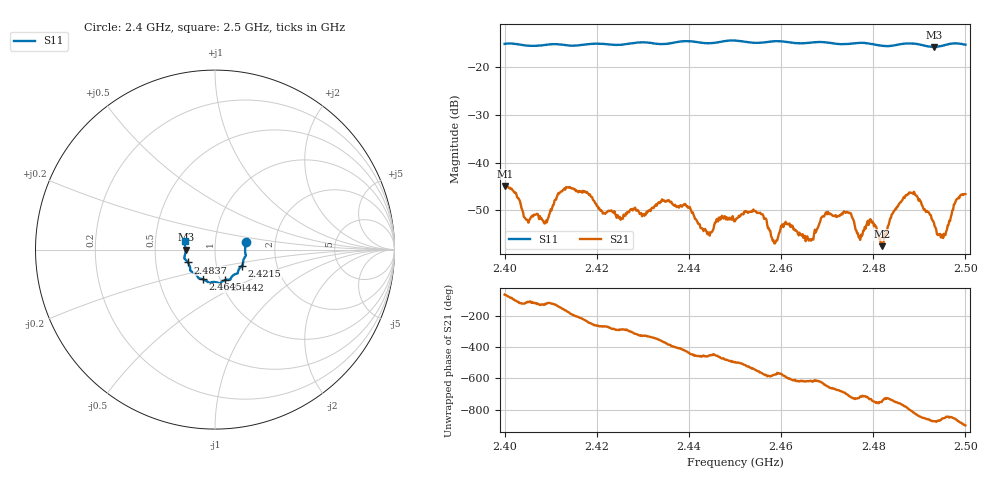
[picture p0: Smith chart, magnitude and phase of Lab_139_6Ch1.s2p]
# Hz S RI R 50
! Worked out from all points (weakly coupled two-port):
!   601 points, 2.4 GHz to 2.5 GHz, reference 50 ohm
!   highest |S21| = -44.85 dB at 2.4002 GHz (marker M1); lowest = -57.5 dB at 2.4818 GHz (marker M2)
!   lowest |S11| = -15.7 dB at 2.4932 GHz (marker M3), VSWR 1.39, Z = 35.9 - j0.0608 ohm
!   |S11| at or under -10 dB: start of sweep to end of sweep
!   S12 and S22 are empty: the file has one direction only
!   S11 on the Smith chart (normalised r, x): 2.4 GHz: 1.41, +0.12; 2.4215 GHz: 1.33, -0.25; 2.4442 GHz: 1.05, -0.37; 2.4645 GHz: 0.83, -0.29; 2.4837 GHz: 0.73, -0.11; 2.5 GHz: 0.71, +0.07
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2.4e9  0.1712 0.0404  0.00286 -0.00486  0 0  0 0
2.400167e9  0.1719 0.0401  0.00265 -0.00507  0 0  0 0
2.404667e9  0.1685 0.0128  -0.000876 -0.00238  0 0  0 0
2.408667e9  0.1694 -0.024  -0.00133 -0.00189  0 0  0 0
2.4125e9  0.1681 -0.0396  -0.00439 -0.00245  0 0  0 0
2.416667e9  0.1566 -0.0698  -0.00422 0.0027  0 0  0 0
2.4215e9  0.1512 -0.0897  -0.000327 0.00296  0 0  0 0
2.433333e9  0.1082 -0.1384  0.00374 0.000687  0 0  0 0
2.439667e9  0.0837 -0.1683  0.00127 -0.00325  0 0  0 0
2.444167e9  0.0567 -0.1694  -0.000209 -0.00184  0 0  0 0
2.45e9  0.0253 -0.1891  -0.00167 -0.00177  0 0  0 0
2.4645e9  -0.0658 -0.1659  -0.000357 0.00169  0 0  0 0
2.466667e9  -0.0826 -0.162  -0.00032 0.00155  0 0  0 0
2.469333e9  -0.0923 -0.1585  0.000421 0.0027  0 0  0 0
2.474e9  -0.1148 -0.1324  0.00274 0.00118  0 0  0 0
2.481833e9  -0.1415 -0.0914  0.00114 -0.000692  0 0  0 0
2.483333e9  -0.1489 -0.0752  0.00219 -0.000347  0 0  0 0
2.483667e9  -0.1512 -0.0717  0.00253 -0.000593  0 0  0 0
2.488333e9  -0.1713 -0.0473  0.000121 -0.00484  0 0  0 0
2.493167e9  -0.1635 -0.000823  -0.00212 -0.00101  0 0  0 0
2.495167e9  -0.1675 0.0225  -0.0012 -0.0011  0 0  0 0
2.5e9  -0.1651 0.0505  -0.00468 0.000198  0 0  0 0
